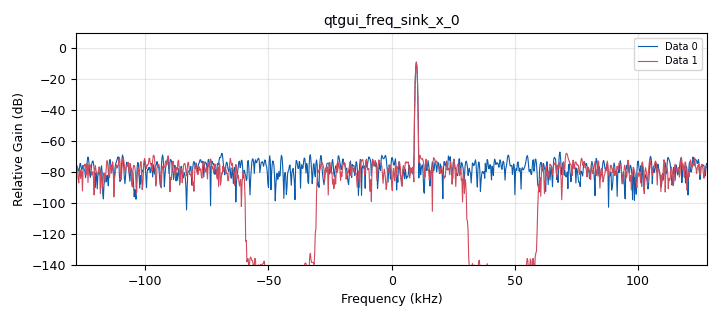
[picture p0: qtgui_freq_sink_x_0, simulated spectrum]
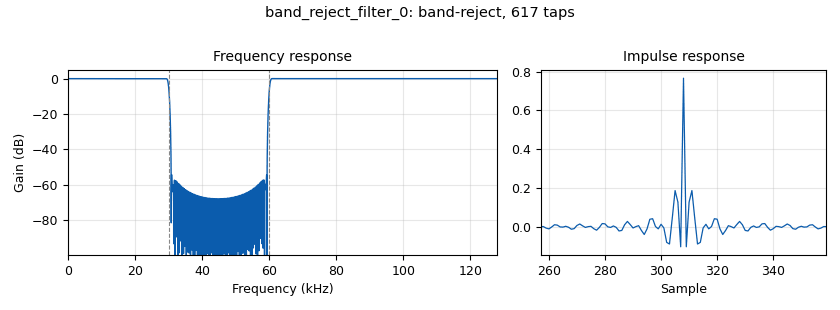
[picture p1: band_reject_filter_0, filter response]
options:
  parameters:
    generate_options: qt_gui
    id: Praktikum2t3FilterFrekuensi
    output_language: python
    title: Filter Frekuensi
  states: {}

blocks:
- name: freq
  id: variable_qtgui_range
  parameters:
    start: '-100000'
    step: '100'
    stop: '100000'
    value: '10000'
  states: {}
- name: noise
  id: variable_qtgui_range
  parameters:
    start: '0'
    step: '0.005'
    stop: '1'
    value: '0.01'
  states: {}
- name: samp_rate
  id: variable
  parameters:
    value: '256000'
  states: {}
- name: analog_fastnoise_source_x_0
  id: analog_fastnoise_source_x
  parameters:
    amp: noise
    noise_type: analog.GR_GAUSSIAN
    samples: '8192'
    seed: '0'
    type: complex
  states: {}
- name: analog_sig_source_x_0
  id: analog_sig_source_x
  parameters:
    amp: '1'
    freq: freq
    offset: '0'
    phase: '0'
    samp_rate: samp_rate
    type: complex
    waveform: analog.GR_COS_WAVE
  states: {}
- name: band_pass_filter_0
  id: band_pass_filter
  parameters:
    decim: '1'
    gain: '1'
    high_cutoff_freq: '60000'
    low_cutoff_freq: '30000'
    samp_rate: samp_rate
    type: fir_filter_ccf
    width: '1000'
    win: window.WIN_HAMMING
  states: {state: disabled}
- name: band_reject_filter_0
  id: band_reject_filter
  parameters:
    decim: '1'
    gain: '1'
    high_cutoff_freq: '60000'
    low_cutoff_freq: '30000'
    samp_rate: samp_rate
    type: fir_filter_ccf
    width: '1000'
    win: window.WIN_HAMMING
  states: {}
- name: blocks_add_xx_0
  id: blocks_add_xx
  parameters:
    type: complex
  states: {}
- name: blocks_throttle2_0
  id: blocks_throttle2
  parameters:
    samples_per_second: samp_rate
    type: complex
  states: {}
- name: blocks_throttle2_0_0
  id: blocks_throttle2
  parameters:
    samples_per_second: samp_rate
    type: complex
  states: {}
- name: high_pass_filter_0
  id: high_pass_filter
  parameters:
    cutoff_freq: '20000'
    decim: '1'
    gain: '3'
    samp_rate: samp_rate
    type: fir_filter_ccf
    width: '1000'
    win: window.WIN_HAMMING
  states: {state: disabled}
- name: low_pass_filter_0
  id: low_pass_filter
  parameters:
    cutoff_freq: '20000'
    decim: '1'
    gain: '1'
    samp_rate: samp_rate
    type: fir_filter_ccf
    width: '1000'
    win: window.WIN_HAMMING
  states: {state: disabled}
- name: qtgui_freq_sink_x_0
  id: qtgui_freq_sink_x
  parameters:
    bw: samp_rate
    color1: '"dark blue"'
    fc: '0'
    fftsize: '1024'
    nconnections: '2'
    type: complex
  states: {}

connections:
- [analog_fastnoise_source_x_0, '0', blocks_add_xx_0, '1']
- [analog_sig_source_x_0, '0', blocks_throttle2_0, '0']
- [band_reject_filter_0, '0', qtgui_freq_sink_x_0, '1']
- [blocks_add_xx_0, '0', band_pass_filter_0, '0']
- [blocks_add_xx_0, '0', band_reject_filter_0, '0']
- [blocks_add_xx_0, '0', blocks_throttle2_0_0, '0']
- [blocks_add_xx_0, '0', high_pass_filter_0, '0']
- [blocks_add_xx_0, '0', low_pass_filter_0, '0']
- [blocks_throttle2_0, '0', blocks_add_xx_0, '0']
- [blocks_throttle2_0_0, '0', qtgui_freq_sink_x_0, '0']

metadata:
  file_format: 1
  grc_version: 3.10.12.0
